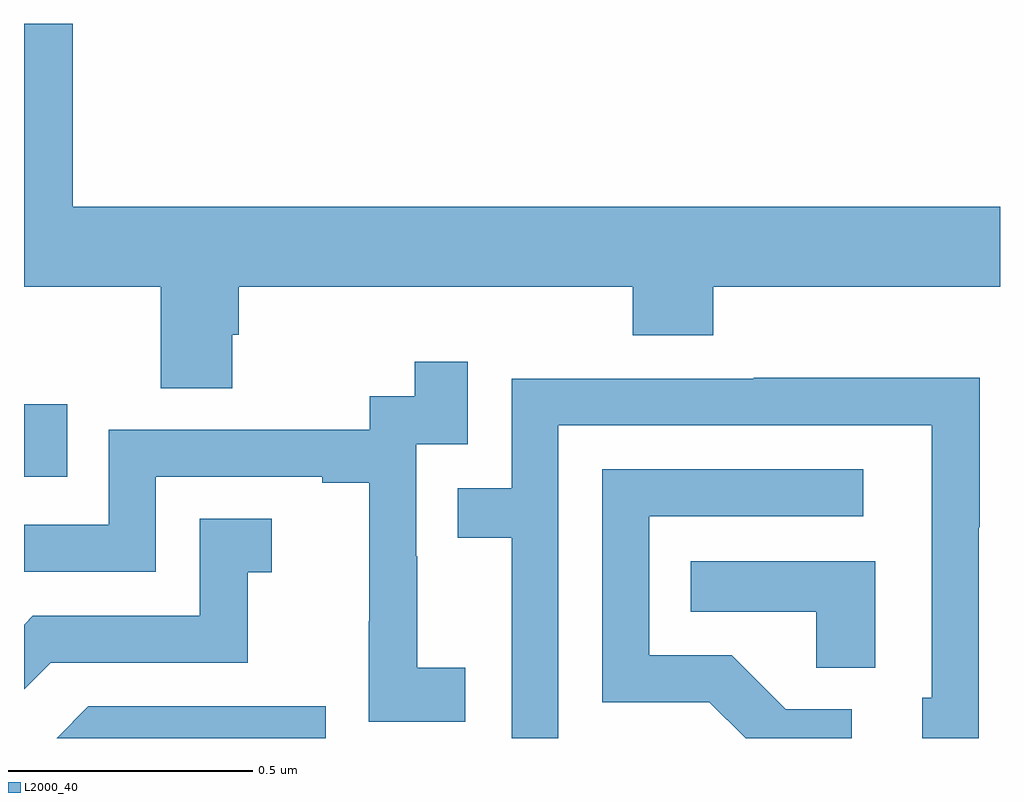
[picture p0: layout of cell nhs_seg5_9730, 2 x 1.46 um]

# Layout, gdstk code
import gdstk
lib = gdstk.Library(unit=1e-6, precision=1e-09)
def R(c, l, rs):  # rectangles x0, y0, x1, y1
    for r in rs: c.add(gdstk.rectangle(r[:2], r[2:], *l))
def P(c, l, *ps):  # polygons
    for p in ps: c.add(gdstk.Polygon(p, *l))
L2000_40 = (2000, 40)

nhs_seg5_9730 = lib.new_cell('nhs_seg5_9730')
R(nhs_seg5_9730, L2000_40, [(237,892.335,237.089,892.483)])
P(nhs_seg5_9730, L2000_40, [(237.427,892.626),(237.44,892.626),(237.44,892.724),(238.247,892.724),(238.247,892.625),(238.412,892.625),(238.412,892.724),(239,892.724),(239,892.888),(237.1,892.888),(237.1,893.263),(237,893.263),(237,892.724),(237.28,892.724),(237.28,892.516),(237.427,892.516)],
  [(237.904,891.943),(237.806,891.943),(237.806,892.172),(237.804,892.172),(237.804,892.401),(237.909,892.401),(237.909,892.57),(237.801,892.57),(237.801,892.5),(237.708,892.5),(237.708,892.431),(237.174,892.431),(237.174,892.236),(237,892.236),(237,892.14),(237.27,892.14),(237.27,892.335),(237.611,892.335),(237.611,892.323),(237.707,892.323),(237.707,892.039),(237.706,892.039),(237.706,891.833),(237.904,891.833)],
  [(238.095,892.44),(238.86,892.44),(238.86,891.882),(238.841,891.882),(238.841,891.799),(238.956,891.799),(238.956,892.231),(238.959,892.231),(238.959,892.538),(238.495,892.538),(238.495,892.536),(237.999,892.536),(237.999,892.311),(237.889,892.311),(237.889,892.21),(237.999,892.21),(237.999,891.799),(238.095,891.799)],
  [(238.696,891.858),(238.561,891.858),(238.45,891.969),(238.281,891.969),(238.281,892.254),(238.72,892.254),(238.72,892.35),(238.185,892.35),(238.185,891.873),(238.404,891.873),(238.479,891.799),(238.696,891.799)],
  [(237.055,891.954),(237.459,891.954),(237.459,892.139),(237.508,892.139),(237.508,892.249),(237.36,892.249),(237.36,892.05),(237.018,892.05),(237,892.032),(237,891.899)],
  [(238.744,892.162),(238.366,892.162),(238.366,892.058),(238.623,892.058),(238.623,891.943),(238.744,891.943)],
  [(237.618,891.864),(237.132,891.864),(237.067,891.799),(237.618,891.799)])

lib.write_gds('nhs_seg5_9730.gds')
